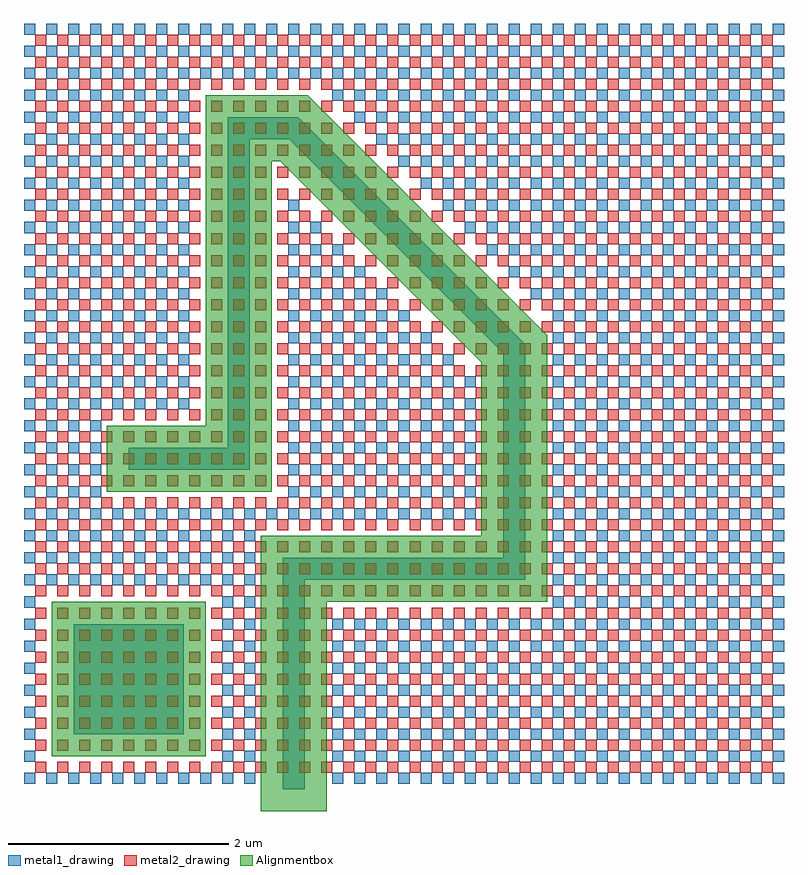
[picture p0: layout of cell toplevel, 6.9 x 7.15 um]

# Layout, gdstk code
import gdstk
lib = gdstk.Library(unit=1e-6, precision=1e-09)
def R(c, l, rs):  # rectangles x0, y0, x1, y1
    for r in rs: c.add(gdstk.rectangle(r[:2], r[2:], *l))
def A(c, l, x, y, w, h, nx, ny, dx, dy):  # array of equal rectangles
    R(c, l, [(x+i*dx, y+j*dy, x+i*dx+w, y+j*dy+h) for i in range(nx) for j in range(ny)])
def P(c, l, *ps):  # polygons
    for p in ps: c.add(gdstk.Polygon(p, *l))
Alignmentbox = (0, 0)
metal1_drawing = (8, 0)
metal2_drawing = (10, 0)

toplevel = lib.new_cell('toplevel')
R(toplevel, Alignmentbox, [(0.3,0.3,1.7,1.7)])
P(toplevel, Alignmentbox, [(2.8,1.7),(4.8,1.7),(4.8,4.124),(2.624,6.3),(1.7,6.3),(1.7,3.3),(0.8,3.3),(0.8,2.7),(2.3,2.7),(2.3,5.7),(2.376,5.7),(4.2,3.876),(4.2,2.3),(2.2,2.3),(2.2,-0.2),(2.8,-0.2)])
A(toplevel, metal1_drawing, 0.05, 0.05, 0.1, 0.1, 11, 2, 0.2, 1.8)
A(toplevel, metal1_drawing, 2.85, 0.05, 0.1, 0.1, 21, 8, 0.2, 0.2)
A(toplevel, metal1_drawing, 0.05, 0.25, 0.1, 0.1, 1, 8, 0, 0.2)
A(toplevel, metal1_drawing, 1.85, 0.25, 0.1, 0.1, 1, 8, 0, 0.2)
A(toplevel, metal1_drawing, 2.05, 0.25, 0.1, 0.1, 1, 8, 0, 0.2)
A(toplevel, metal1_drawing, 4.85, 1.65, 0.1, 0.1, 11, 14, 0.2, 0.2)
A(toplevel, metal1_drawing, 0.05, 2.05, 0.1, 0.1, 11, 2, 0.2, 0.2)
A(toplevel, metal1_drawing, 0.05, 2.45, 0.1, 0.1, 21, 1, 0.2, 0)
A(toplevel, metal1_drawing, 0.05, 2.65, 0.1, 0.1, 4, 4, 0.2, 0.2)
A(toplevel, metal1_drawing, 2.45, 2.65, 0.1, 0.1, 9, 6, 0.2, 0.2)
A(toplevel, metal1_drawing, 0.05, 3.45, 0.1, 0.1, 8, 15, 0.2, 0.2)
A(toplevel, metal1_drawing, 2.45, 3.85, 0.1, 0.1, 8, 1, 0.2, 0)
A(toplevel, metal1_drawing, 2.45, 4.05, 0.1, 0.1, 7, 1, 0.2, 0)
A(toplevel, metal1_drawing, 2.45, 4.25, 0.1, 0.1, 6, 1, 0.2, 0)
A(toplevel, metal1_drawing, 2.45, 4.45, 0.1, 0.1, 5, 1, 0.2, 0)
A(toplevel, metal1_drawing, 4.65, 4.45, 0.1, 0.1, 12, 1, 0.2, 0)
A(toplevel, metal1_drawing, 2.45, 4.65, 0.1, 0.1, 4, 1, 0.2, 0)
A(toplevel, metal1_drawing, 4.45, 4.65, 0.1, 0.1, 13, 1, 0.2, 0)
A(toplevel, metal1_drawing, 2.45, 4.85, 0.1, 0.1, 3, 1, 0.2, 0)
A(toplevel, metal1_drawing, 4.25, 4.85, 0.1, 0.1, 14, 1, 0.2, 0)
A(toplevel, metal1_drawing, 4.05, 5.05, 0.1, 0.1, 15, 1, 0.2, 0)
A(toplevel, metal1_drawing, 3.85, 5.25, 0.1, 0.1, 16, 1, 0.2, 0)
A(toplevel, metal1_drawing, 3.65, 5.45, 0.1, 0.1, 17, 1, 0.2, 0)
A(toplevel, metal1_drawing, 3.45, 5.65, 0.1, 0.1, 18, 1, 0.2, 0)
A(toplevel, metal1_drawing, 3.25, 5.85, 0.1, 0.1, 19, 1, 0.2, 0)
A(toplevel, metal1_drawing, 3.05, 6.05, 0.1, 0.1, 20, 1, 0.2, 0)
A(toplevel, metal1_drawing, 2.85, 6.25, 0.1, 0.1, 21, 1, 0.2, 0)
A(toplevel, metal1_drawing, 0.05, 6.45, 0.1, 0.1, 35, 3, 0.2, 0.2)
R(toplevel, metal1_drawing, [(0.5,0.5,1.5,1.5), (2.45,5.05,2.55,5.15), (2.65,5.05,2.75,5.15), (2.45,5.25,2.55,5.35)])
P(toplevel, metal1_drawing, [(2.6,0),(2.6,1.9),(4.6,1.9),(4.6,4.042),(2.542,6.1),(1.9,6.1),(1.9,3.1),(1,3.1),(1,2.9),(2.1,2.9),(2.1,5.9),(2.458,5.9),(4.4,3.958),(4.4,2.1),(2.4,2.1),(2.4,0)])
A(toplevel, metal2_drawing, 0.15, 0.15, 0.1, 0.1, 34, 34, 0.2, 0.2)

lib.write_gds('toplevel.gds')
